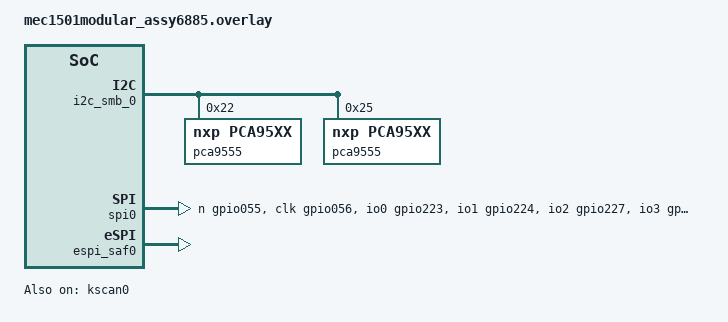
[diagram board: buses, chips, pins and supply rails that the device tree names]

&i2c_smb_0 {
	status = "okay";
	port_sel = <0>;

	pca9555@22 {
		compatible = "nxp,pca95xx";

		/* Address depends on 0100<A2=0><A1=1><A0=0><R/W>b. */
		reg = <0x22>;
		gpio-controller;
		#gpio-cells = <2>;
	};

	pca9555@25 {
		compatible = "nxp,pca95xx";

		/* Address depends on 0100<A2=1><A1=0><A0=1><R/W>b. */
		reg = <0x25>;
		gpio-controller;
		#gpio-cells = <2>;
	};
};

&kscan0 {
	status = "okay";
};

&spi0 {
	status = "okay";
	port_sel = <0>;
	chip_select = <0>;
	lines = <4>;
};

&espi_saf0 {
	status = "okay";
};

&spi0 {
	pinctrl-0 = < &shd_cs0_n_gpio055 &shd_clk_gpio056
			&shd_io0_gpio223 &shd_io1_gpio224
			&shd_io2_gpio227 &shd_io3_gpio016 >;
	pinctrl-names = "default";
};
